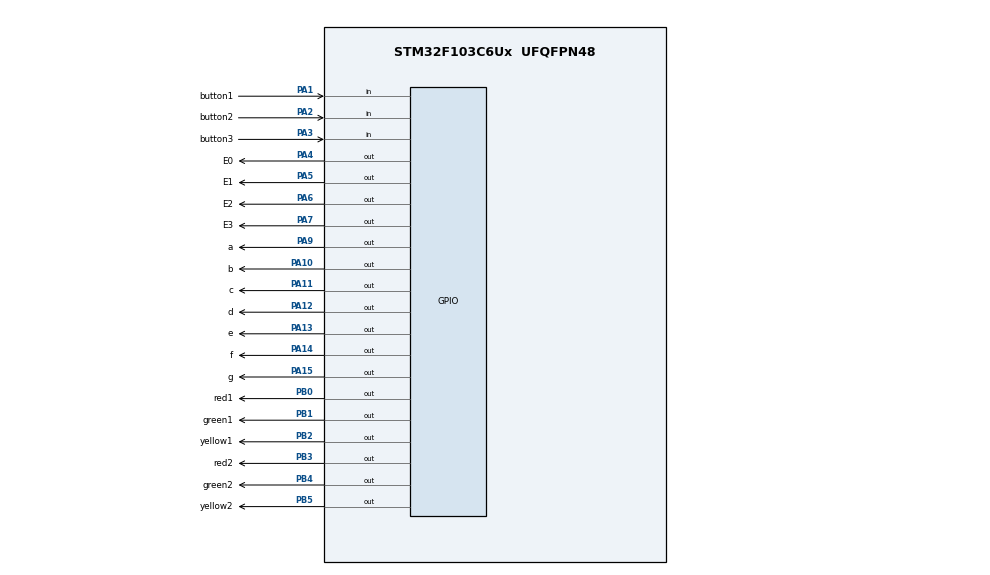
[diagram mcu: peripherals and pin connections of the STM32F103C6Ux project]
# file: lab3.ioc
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Mcu.Family=STM32F1
Mcu.Name=STM32F103C6Ux
Mcu.Package=UFQFPN48
NVIC.PriorityGroup=NVIC_PRIORITYGROUP_4
NVIC.TIM2_IRQn=true\:15\:0\:false\:false\:true\:true\:true
PA1.GPIO_Label=button1
PA1.Signal=GPIO_Input
PA10.GPIO_Label=b
PA10.Signal=GPIO_Output
PA11.GPIO_Label=c
PA11.Signal=GPIO_Output
PA12.GPIO_Label=d
PA12.Signal=GPIO_Output
PA13.GPIO_Label=e
PA13.Signal=GPIO_Output
PA14.GPIO_Label=f
PA14.Signal=GPIO_Output
PA15.GPIO_Label=g
PA15.Signal=GPIO_Output
PA2.GPIO_Label=button2
PA2.Signal=GPIO_Input
PA3.GPIO_Label=button3
PA3.Signal=GPIO_Input
PA4.GPIO_Label=E0
PA4.Signal=GPIO_Output
PA5.GPIO_Label=E1
PA5.Signal=GPIO_Output
PA6.GPIO_Label=E2
PA6.Signal=GPIO_Output
PA7.GPIO_Label=E3
PA7.Signal=GPIO_Output
PA9.GPIO_Label=a
PA9.Signal=GPIO_Output
PB0.GPIO_Label=red1
PB0.Signal=GPIO_Output
PB1.GPIO_Label=green1
PB1.Signal=GPIO_Output
PB2.GPIO_Label=yellow1
PB2.Signal=GPIO_Output
PB3.GPIO_Label=red2
PB3.Signal=GPIO_Output
PB4.GPIO_Label=green2
PB4.Signal=GPIO_Output
PB5.GPIO_Label=yellow2
PB5.Signal=GPIO_Output
ProjectManager.HeapSize=0x200
ProjectManager.StackSize=0x400
ProjectManager.TargetToolchain=STM32CubeIDE
RCC.APB1Freq_Value=8000000
RCC.APB2Freq_Value=8000000
TIM2.Period=9
TIM2.Prescaler=7999
VP_SYS_VS_ND.Mode=No_Debug
VP_TIM2_VS_ClockSourceINT.Mode=Internal
board=custom

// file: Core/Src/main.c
/* USER CODE BEGIN Header */
/**
  ******************************************************************************
  * @file           : main.c
  * @brief          : Main program body
  ******************************************************************************
  * @attention
  *
  * <h2><center>&copy; Copyright (c) 2023 STMicroelectronics.
  * All rights reserved.</center></h2>
  *
  * This software component is licensed by ST under BSD 3-Clause license,
  * the "License"; You may not use this file except in compliance with the
  * License. You may obtain a copy of the License at:
  *                        opensource.org/licenses/BSD-3-Clause
  *
  ******************************************************************************
  */
/* USER CODE END Header */
#include "main.h"

/* USER CODE BEGIN Includes */
#include "software_timer.h"
#include "button.h"
#include "global.h"
#include "fsm_automatic.h"
#include "fsm_manual.h"
/* USER CODE END Includes */

TIM_HandleTypeDef htim2;

void SystemClock_Config(void);
static void MX_GPIO_Init(void);
static void MX_TIM2_Init(void);

int main(void)
{

  /* MCU Configuration--------------------------------------------------------*/

  /* Reset of all peripherals, Initializes the Flash interface and the Systick. */
  HAL_Init();

  /* Configure the system clock */
  SystemClock_Config();

  /* Initialize all configured peripherals */
  MX_GPIO_Init();
  MX_TIM2_Init();
  /* USER CODE BEGIN 2 */
  HAL_TIM_Base_Start_IT(&htim2);
  /* USER CODE END 2 */

  /* Infinite loop */
  /* USER CODE BEGIN WHILE */
  while (1)
  {
	  fsm_automatic_run();
	  fsm_manual_run();
    /* USER CODE END WHILE */

  }
}

void SystemClock_Config(void)
{
  RCC_OscInitTypeDef RCC_OscInitStruct = {0};
  RCC_ClkInitTypeDef RCC_ClkInitStruct = {0};

  /** Initializes the RCC Oscillators according to the specified parameters
  * in the RCC_OscInitTypeDef structure.
  */
  RCC_OscInitStruct.OscillatorType = RCC_OSCILLATORTYPE_HSI;
  RCC_OscInitStruct.HSIState = RCC_HSI_ON;
  RCC_OscInitStruct.HSICalibrationValue = RCC_HSICALIBRATION_DEFAULT;
  RCC_OscInitStruct.PLL.PLLState = RCC_PLL_NONE;
  if (HAL_RCC_OscConfig(&RCC_OscInitStruct) != HAL_OK)
  {
    Error_Handler();
  }
  /** Initializes the CPU, AHB and APB buses clocks
  */
  RCC_ClkInitStruct.ClockType = RCC_CLOCKTYPE_HCLK|RCC_CLOCKTYPE_SYSCLK
                              |RCC_CLOCKTYPE_PCLK1|RCC_CLOCKTYPE_PCLK2;
  RCC_ClkInitStruct.SYSCLKSource = RCC_SYSCLKSOURCE_HSI;
  RCC_ClkInitStruct.AHBCLKDivider = RCC_SYSCLK_DIV1;
  RCC_ClkInitStruct.APB1CLKDivider = RCC_HCLK_DIV1;
  RCC_ClkInitStruct.APB2CLKDivider = RCC_HCLK_DIV1;

  if (HAL_RCC_ClockConfig(&RCC_ClkInitStruct, FLASH_LATENCY_0) != HAL_OK)
  {
    Error_Handler();
  }
}

static void MX_TIM2_Init(void)
{

  TIM_ClockConfigTypeDef sClockSourceConfig = {0};
  TIM_MasterConfigTypeDef sMasterConfig = {0};

  htim2.Instance = TIM2;
  htim2.Init.Prescaler = 7999;
  htim2.Init.CounterMode = TIM_COUNTERMODE_UP;
  htim2.Init.Period = 9;
  htim2.Init.ClockDivision = TIM_CLOCKDIVISION_DIV1;
  htim2.Init.AutoReloadPreload = TIM_AUTORELOAD_PRELOAD_DISABLE;
  if (HAL_TIM_Base_Init(&htim2) != HAL_OK)
  {
    Error_Handler();
  }
  sClockSourceConfig.ClockSource = TIM_CLOCKSOURCE_INTERNAL;
  if (HAL_TIM_ConfigClockSource(&htim2, &sClockSourceConfig) != HAL_OK)
  {
    Error_Handler();
  }
  sMasterConfig.MasterOutputTrigger = TIM_TRGO_RESET;
  sMasterConfig.MasterSlaveMode = TIM_MASTERSLAVEMODE_DISABLE;
  if (HAL_TIMEx_MasterConfigSynchronization(&htim2, &sMasterConfig) != HAL_OK)
  {
    Error_Handler();
  }

}

static void MX_GPIO_Init(void)
{
  GPIO_InitTypeDef GPIO_InitStruct = {0};

  /* GPIO Ports Clock Enable */
  __HAL_RCC_GPIOA_CLK_ENABLE();
  __HAL_RCC_GPIOB_CLK_ENABLE();

  /*Configure GPIO pin Output Level */
  HAL_GPIO_WritePin(GPIOA, E0_Pin|E1_Pin|E2_Pin|E3_Pin
                          |a_Pin|b_Pin|c_Pin|d_Pin
                          |e_Pin|f_Pin|g_Pin, GPIO_PIN_RESET);

  /*Configure GPIO pin Output Level */
  HAL_GPIO_WritePin(GPIOB, red1_Pin|green1_Pin|yellow1_Pin|red2_Pin
                          |green2_Pin|yellow2_Pin, GPIO_PIN_RESET);

  /*Configure GPIO pins : button1_Pin button2_Pin button3_Pin */
  GPIO_InitStruct.Pin = button1_Pin|button2_Pin|button3_Pin;
  GPIO_InitStruct.Mode = GPIO_MODE_INPUT;
  GPIO_InitStruct.Pull = GPIO_NOPULL;
  HAL_GPIO_Init(GPIOA, &GPIO_InitStruct);

  /*Configure GPIO pins : E0_Pin E1_Pin E2_Pin E3_Pin
                           a_Pin b_Pin c_Pin d_Pin
                           e_Pin f_Pin g_Pin */
  GPIO_InitStruct.Pin = E0_Pin|E1_Pin|E2_Pin|E3_Pin
                          |a_Pin|b_Pin|c_Pin|d_Pin
                          |e_Pin|f_Pin|g_Pin;
  GPIO_InitStruct.Mode = GPIO_MODE_OUTPUT_PP;
  GPIO_InitStruct.Pull = GPIO_NOPULL;
  GPIO_InitStruct.Speed = GPIO_SPEED_FREQ_LOW;
  HAL_GPIO_Init(GPIOA, &GPIO_InitStruct);

  /*Configure GPIO pins : red1_Pin green1_Pin yellow1_Pin red2_Pin
                           green2_Pin yellow2_Pin */
  GPIO_InitStruct.Pin = red1_Pin|green1_Pin|yellow1_Pin|red2_Pin
                          |green2_Pin|yellow2_Pin;
  GPIO_InitStruct.Mode = GPIO_MODE_OUTPUT_PP;
  GPIO_InitStruct.Pull = GPIO_NOPULL;
  GPIO_InitStruct.Speed = GPIO_SPEED_FREQ_LOW;
  HAL_GPIO_Init(GPIOB, &GPIO_InitStruct);

}

/* USER CODE BEGIN 4 */
void HAL_TIM_PeriodElapsedCallback(TIM_HandleTypeDef *htim){
	timerRun(0);
	timerRun(1);
	timerRun(2);
	getkeyinput(0, button1_Pin);
	getkeyinput(1, button2_Pin);
	getkeyinput(2, button3_Pin);
}
/* USER CODE END 4 */

void Error_Handler(void)
{
  __disable_irq();
  while (1)
  {
  }
}

/************************ (C) COPYRIGHT STMicroelectronics *****END OF FILE****/
